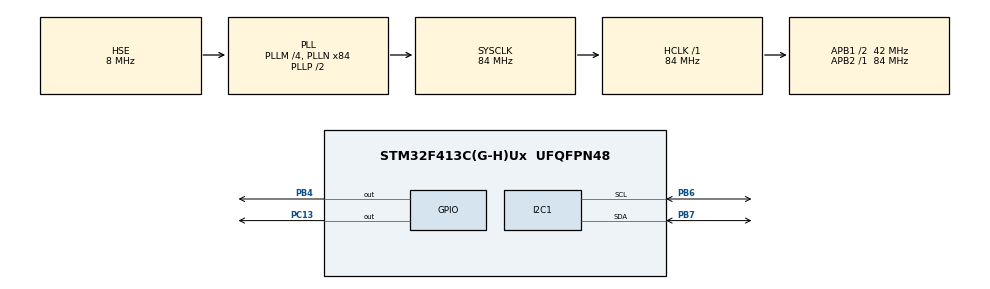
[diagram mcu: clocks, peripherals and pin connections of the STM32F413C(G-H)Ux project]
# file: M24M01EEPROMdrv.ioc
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Mcu.Family=STM32F4
Mcu.Name=STM32F413C(G-H)Ux
Mcu.Package=UFQFPN48
NVIC.PriorityGroup=NVIC_PRIORITYGROUP_4
NVIC.TIM2_IRQn=true\:0\:0\:false\:false\:true\:true\:true
PA13.Mode=Serial_Wire
PA13.Signal=SYS_JTMS-SWDIO
PA14.Mode=Serial_Wire
PA14.Signal=SYS_JTCK-SWCLK
PB4.Signal=GPIO_Output
PB6.Mode=I2C
PB6.Signal=I2C1_SCL
PB7.Mode=I2C
PB7.Signal=I2C1_SDA
PC13.Signal=GPIO_Output
PC14-OSC32_IN.Mode=LSE-External-Clock-Source
PC14-OSC32_IN.Signal=RCC_OSC32_IN
PC15-OSC32_OUT.Mode=LSE-External-Clock-Source
PC15-OSC32_OUT.Signal=RCC_OSC32_OUT
PH0\ -\ OSC_IN.Mode=HSE-External-Clock-Source
PH0\ -\ OSC_IN.Signal=RCC_OSC_IN
PH1\ -\ OSC_OUT.Mode=HSE-External-Clock-Source
PH1\ -\ OSC_OUT.Signal=RCC_OSC_OUT
ProjectManager.HeapSize=0x200
ProjectManager.StackSize=0x400
ProjectManager.TargetToolchain=STM32CubeIDE
RCC.AHBFreq_Value=84000000
RCC.APB1CLKDivider=RCC_HCLK_DIV2
RCC.APB1Freq_Value=42000000
RCC.APB1TimFreq_Value=84000000
RCC.APB2Freq_Value=84000000
RCC.APB2TimFreq_Value=84000000
RCC.CortexFreq_Value=84000000
RCC.HCLKFreq_Value=84000000
RCC.HSE_VALUE=8000000
RCC.PLLM=4
RCC.PLLN=84
RCC.PLLSourceVirtual=RCC_PLLSOURCE_HSE
RCC.SYSCLKFreq_VALUE=84000000
RCC.SYSCLKSource=RCC_SYSCLKSOURCE_PLLCLK
RCC.USBFreq_Value=84000000
RCC.VCOOutputFreq_Value=168000000
TIM2.Period=1
TIM2.Prescaler=10500
VP_TIM2_VS_ClockSourceINT.Mode=Internal
board=custom

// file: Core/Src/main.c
/* USER CODE BEGIN Header */
/**
  ******************************************************************************
  * @file           : main.c
  * @brief          : Main program body
  ******************************************************************************
  * @attention
  *
  * <h2><center>&copy; Copyright (c) 2020 STMicroelectronics.
  * All rights reserved.</center></h2>
  *
  * This software component is licensed by ST under BSD 3-Clause license,
  * the "License"; You may not use this file except in compliance with the
  * License. You may obtain a copy of the License at:
  *                        opensource.org/licenses/BSD-3-Clause
  *
  ******************************************************************************
  */
/* USER CODE END Header */
#include "main.h"

/* USER CODE BEGIN Includes */
#include "timeout.h"
#include "M24M01EEPROM.h"
/* USER CODE END Includes */

I2C_HandleTypeDef hi2c1;

TIM_HandleTypeDef htim2;

void SystemClock_Config(void);
static void MX_GPIO_Init(void);
static void MX_I2C1_Init(void);
static void MX_TIM2_Init(void);

/* USER CODE BEGIN 0 */
uint8_t STCode[1];
uint8_t I2CCode[1];
uint8_t DensityCode[1];

uint8_t writeData1[1] = {0x10};
uint8_t writeData2[20];

uint8_t readData1[1];
uint8_t readData2[20];
/* USER CODE END 0 */

int main(void)
{

  /* MCU Configuration--------------------------------------------------------*/

  /* Reset of all peripherals, Initializes the Flash interface and the Systick. */
  HAL_Init();

  /* Configure the system clock */
  SystemClock_Config();

  /* Initialize all configured peripherals */
  MX_GPIO_Init();
  MX_I2C1_Init();
  MX_TIM2_Init();
  /* USER CODE BEGIN 2 */
  initTimeout(&htim2);
  M24M01EEPROMInit(hi2c1);

  for(int i = 0; i < 20; i++)
  {
	  writeData2[i] = i;
  }
  /* USER CODE END 2 */

  /* Infinite loop */
  while (1)
  {

    /* USER CODE BEGIN 3 */
	  //Read Identification Code from Table 4 of datasheet
	  EEPROMReadIdentificationCodes(STCode, I2CCode, DensityCode);

	  //Check if data is correct
	  if(STCode[0] != 0x20) while(1);
	  if(I2CCode[0] != 0xE0) while(1);
	  if(DensityCode[0] != 0x11) while(1);

	  while(HAL_I2C_GetState(&hi2c1) != HAL_I2C_STATE_READY);
	  if(!EEPROMWriteData(writeData1, 0x0000, 1)) while(1);
	  HAL_Delay(1);
	  while(HAL_I2C_GetState(&hi2c1) != HAL_I2C_STATE_READY);
	  if(EEPROMReadData(readData1, 0x0000, 1))
	  {
		  if(readData1[0] != 0x10) while(1);
		  handleHeartbeatLED(GPIOC, GPIO_PIN_13);
	  }

	  if(!EEPROMWriteData(writeData2, 0x0001, 20)) while(1);
	  HAL_Delay(1);
	  if(EEPROMReadData(readData2, 0x0001, 20))
	  {
		  if(readData2[1] != 0x01) while(1);
		  handleHeartbeatLED(GPIOC, GPIO_PIN_13);
	  }
//	  if(!EEPROMReadData(readData2, 0x0001, 20)) while(1);
  }
  /* USER CODE END 3 */
}

void SystemClock_Config(void)
{
  RCC_OscInitTypeDef RCC_OscInitStruct = {0};
  RCC_ClkInitTypeDef RCC_ClkInitStruct = {0};

  /** Configure the main internal regulator output voltage
  */
  __HAL_RCC_PWR_CLK_ENABLE();
  __HAL_PWR_VOLTAGESCALING_CONFIG(PWR_REGULATOR_VOLTAGE_SCALE1);
  /** Initializes the RCC Oscillators according to the specified parameters
  * in the RCC_OscInitTypeDef structure.
  */
  RCC_OscInitStruct.OscillatorType = RCC_OSCILLATORTYPE_HSE;
  RCC_OscInitStruct.HSEState = RCC_HSE_BYPASS;
  RCC_OscInitStruct.PLL.PLLState = RCC_PLL_ON;
  RCC_OscInitStruct.PLL.PLLSource = RCC_PLLSOURCE_HSE;
  RCC_OscInitStruct.PLL.PLLM = 4;
  RCC_OscInitStruct.PLL.PLLN = 84;
  RCC_OscInitStruct.PLL.PLLP = RCC_PLLP_DIV2;
  RCC_OscInitStruct.PLL.PLLQ = 2;
  RCC_OscInitStruct.PLL.PLLR = 2;
  if (HAL_RCC_OscConfig(&RCC_OscInitStruct) != HAL_OK)
  {
    Error_Handler();
  }
  /** Initializes the CPU, AHB and APB buses clocks
  */
  RCC_ClkInitStruct.ClockType = RCC_CLOCKTYPE_HCLK|RCC_CLOCKTYPE_SYSCLK
                              |RCC_CLOCKTYPE_PCLK1|RCC_CLOCKTYPE_PCLK2;
  RCC_ClkInitStruct.SYSCLKSource = RCC_SYSCLKSOURCE_PLLCLK;
  RCC_ClkInitStruct.AHBCLKDivider = RCC_SYSCLK_DIV1;
  RCC_ClkInitStruct.APB1CLKDivider = RCC_HCLK_DIV2;
  RCC_ClkInitStruct.APB2CLKDivider = RCC_HCLK_DIV1;

  if (HAL_RCC_ClockConfig(&RCC_ClkInitStruct, FLASH_LATENCY_3) != HAL_OK)
  {
    Error_Handler();
  }
}

static void MX_I2C1_Init(void)
{

  hi2c1.Instance = I2C1;
  hi2c1.Init.ClockSpeed = 100000;
  hi2c1.Init.DutyCycle = I2C_DUTYCYCLE_2;
  hi2c1.Init.OwnAddress1 = 0;
  hi2c1.Init.AddressingMode = I2C_ADDRESSINGMODE_7BIT;
  hi2c1.Init.DualAddressMode = I2C_DUALADDRESS_DISABLE;
  hi2c1.Init.OwnAddress2 = 0;
  hi2c1.Init.GeneralCallMode = I2C_GENERALCALL_DISABLE;
  hi2c1.Init.NoStretchMode = I2C_NOSTRETCH_DISABLE;
  if (HAL_I2C_Init(&hi2c1) != HAL_OK)
  {
    Error_Handler();
  }

}

static void MX_TIM2_Init(void)
{

  TIM_ClockConfigTypeDef sClockSourceConfig = {0};
  TIM_MasterConfigTypeDef sMasterConfig = {0};

  htim2.Instance = TIM2;
  htim2.Init.Prescaler = 10500;
  htim2.Init.CounterMode = TIM_COUNTERMODE_UP;
  htim2.Init.Period = 1;
  htim2.Init.ClockDivision = TIM_CLOCKDIVISION_DIV1;
  htim2.Init.AutoReloadPreload = TIM_AUTORELOAD_PRELOAD_DISABLE;
  if (HAL_TIM_Base_Init(&htim2) != HAL_OK)
  {
    Error_Handler();
  }
  sClockSourceConfig.ClockSource = TIM_CLOCKSOURCE_INTERNAL;
  if (HAL_TIM_ConfigClockSource(&htim2, &sClockSourceConfig) != HAL_OK)
  {
    Error_Handler();
  }
  sMasterConfig.MasterOutputTrigger = TIM_TRGO_RESET;
  sMasterConfig.MasterSlaveMode = TIM_MASTERSLAVEMODE_DISABLE;
  if (HAL_TIMEx_MasterConfigSynchronization(&htim2, &sMasterConfig) != HAL_OK)
  {
    Error_Handler();
  }

}

static void MX_GPIO_Init(void)
{
  GPIO_InitTypeDef GPIO_InitStruct = {0};

  /* GPIO Ports Clock Enable */
  __HAL_RCC_GPIOC_CLK_ENABLE();
  __HAL_RCC_GPIOH_CLK_ENABLE();
  __HAL_RCC_GPIOA_CLK_ENABLE();
  __HAL_RCC_GPIOB_CLK_ENABLE();

  /*Configure GPIO pin Output Level */
  HAL_GPIO_WritePin(GPIOC, GPIO_PIN_13, GPIO_PIN_RESET);

  /*Configure GPIO pin Output Level */
  HAL_GPIO_WritePin(GPIOB, GPIO_PIN_4, GPIO_PIN_RESET);

  /*Configure GPIO pin : PC13 */
  GPIO_InitStruct.Pin = GPIO_PIN_13;
  GPIO_InitStruct.Mode = GPIO_MODE_OUTPUT_PP;
  GPIO_InitStruct.Pull = GPIO_NOPULL;
  GPIO_InitStruct.Speed = GPIO_SPEED_FREQ_LOW;
  HAL_GPIO_Init(GPIOC, &GPIO_InitStruct);

  /*Configure GPIO pin : PB4 */
  GPIO_InitStruct.Pin = GPIO_PIN_4;
  GPIO_InitStruct.Mode = GPIO_MODE_OUTPUT_PP;
  GPIO_InitStruct.Pull = GPIO_NOPULL;
  GPIO_InitStruct.Speed = GPIO_SPEED_FREQ_LOW;
  HAL_GPIO_Init(GPIOB, &GPIO_InitStruct);

}

void Error_Handler(void)
{
}

/************************ (C) COPYRIGHT STMicroelectronics *****END OF FILE****/
